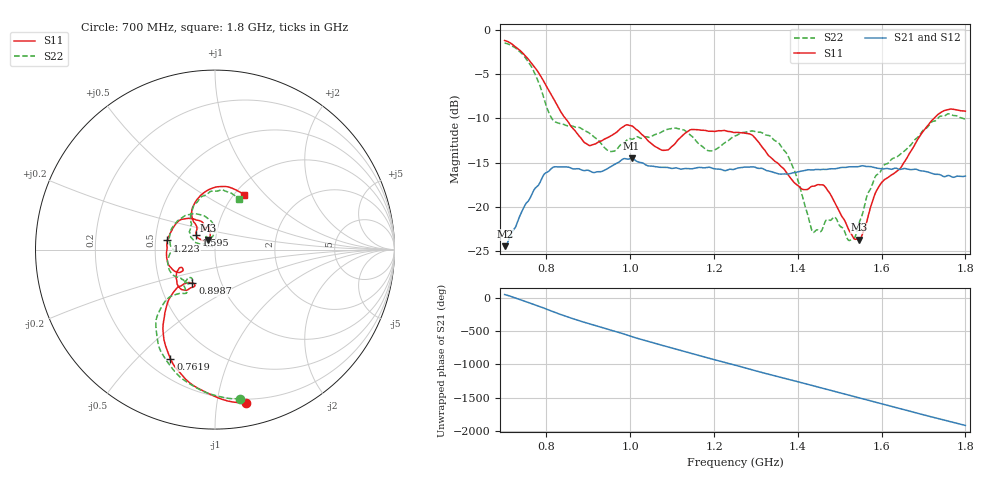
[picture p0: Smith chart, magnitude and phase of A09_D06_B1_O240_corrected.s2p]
! Created with skrf 1.9.0 (http://scikit-rf.org).
# Hz S RI R 50.0
!freq ReS11 ImS11 ReS21 ImS21 ReS12 ImS12 ReS22 ImS22
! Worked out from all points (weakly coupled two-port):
!   1601 points, 700 MHz to 1.8 GHz, reference 50 ohm
!   highest |S21| = -14.51 dB at 1.003 GHz (marker M1); lowest = -24.4 dB at 700.7 MHz (marker M2)
!   lowest |S11| = -23.7 dB at 1.546 GHz (marker M3), VSWR 1.14, Z = 46.2 + j5 ohm
!   |S11| at or under -10 dB: 845.1 MHz to 1.725 GHz (879.6 MHz wide, 68.5 % of centre)
!   |S22| runs from -23.8 to -1.5 dB; largest |S21 - S12| = 0.0034
!   S11 on the Smith chart (normalised r, x): 700 MHz: 0.17, -1.21; 761.9 MHz: 0.30, -0.63; 898.7 MHz: 0.73, -0.29; 1.223 GHz: 0.58, +0.06; 1.595 GHz: 0.80, +0.13; 1.8 GHz: 1.11, +0.77
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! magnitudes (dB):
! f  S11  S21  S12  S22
! 700 MHz  -1.2  -24.4  -24.2  -1.5
! 700.7 MHz  -1.2  -24.4  -24.1  -1.5
! 761.9 MHz  -3.7  -18.9  -18.8  -4.0
! 814.8 MHz  -7.6  -15.5  -15.6  -10.2
! 883.6 MHz  -12.3  -15.8  -15.7  -11.2
! 898.7 MHz  -13.0  -15.9  -15.9  -11.6
! 953 MHz  -12.0  -15.5  -15.5  -13.7
! 1.003 GHz  -10.8  -14.5  -14.6  -12.4
! 1.067 GHz  -13.4  -15.5  -15.5  -11.7
! 1.145 GHz  -11.3  -15.7  -15.7  -11.9
! 1.223 GHz  -11.4  -15.9  -15.9  -12.8
! 1.25 GHz  -11.6  -15.7  -15.6  -12.0
! 1.356 GHz  -15.2  -16.3  -16.2  -12.9
! 1.394 GHz  -17.4  -16.1  -16.1  -16.2
! 1.434 GHz  -17.7  -15.8  -15.8  -22.7
! 1.488 GHz  -19.5  -15.7  -15.7  -21.1
! 1.525 GHz  -22.9  -15.5  -15.5  -23.8
! 1.546 GHz  -23.7  -15.4  -15.4  -21.8
! 1.595 GHz  -17.6  -15.7  -15.6  -16.2
! 1.617 GHz  -16.6  -15.7  -15.7  -15.0
! 1.733 GHz  -9.6  -16.3  -16.3  -10.1
! 1.8 GHz  -9.2  -16.5  -16.5  -10.1
